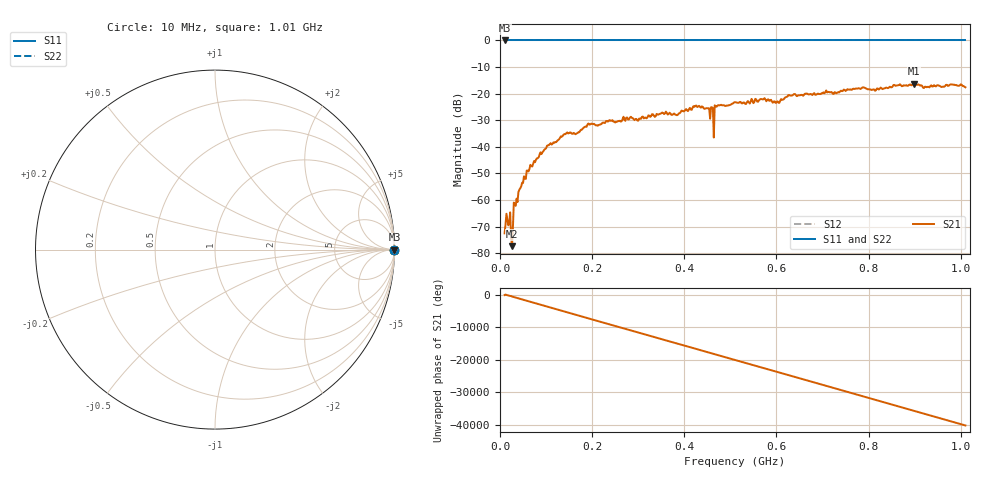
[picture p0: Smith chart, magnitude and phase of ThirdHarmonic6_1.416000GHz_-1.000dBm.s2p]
! 8/16/2025 4:15:47 PM
! C:\ANRITSUVNA\TEMP\TEMP.S2P
! CHANNEL.1
! TR.MEASUREMENT
! RAW.DATA
! RF.CORRECTION.OFF
! AVERAGING.OFF
! IF.BANDWIDTH: 5KHZ
! SWEEPTYPE:  FREQ.SWEEP(Linear)
! Reference Plane Port Info
! PORT:  PORT1  PORT2
! DISTANCE:  0  m  0  m
! TIME:  0  s  0  s
! PHASE.OFFSET:  0  deg.  0  deg.
! LOSS:  0  dB  0  dB
! REF.LOSS:  0  dB  0  dB
! REF.FREQ:  0  Hz  0  Hz
! Power Info
! POWER:  -20  dBm  -20  dBm
! EFF.POWER:  -20  dBm  -20  dBm
! SOURCE.ATTEN:  0  dB  0  dB
! TEST.ATTEN:  0  dB  0  dB
# GHZ S RI R 50.0
! FREQ.GHZ  S11RE  S11IM  S21RE  S21IM  S12RE  S12IM  S22RE  S22IM
!; PortSelection: Port_12
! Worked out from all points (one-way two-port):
!   501 points, 10 MHz to 1.01 GHz, reference 50 ohm
!   highest |S21| = -16.22 dB at 898 MHz (marker M1); lowest = -77.4 dB at 26 MHz (marker M2)
!   lowest |S11| = 0.0 dB at 10 MHz (marker M3)
!   |S11| at or under -10 dB: nowhere
!   |S22| runs from 0.0 to 0.0 dB; largest |S21 - S12| = 1.1
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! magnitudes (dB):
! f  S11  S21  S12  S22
! 10 MHz  0.0  -72.6  0.0  0.0
! 18 MHz  0.0  -69.5  0.0  0.0
! 22 MHz  0.0  -64.7  0.0  0.0
! 26 MHz  0.0  -77.4  0.0  0.0
! 34 MHz  0.0  -62.2  0.0  0.0
! 62 MHz  0.0  -49.3  0.0  0.0
! 106 MHz  0.0  -39.4  0.0  0.0
! 178 MHz  0.0  -33.5  0.0  0.0
! 344 MHz  0.0  -27.9  0.0  0.0
! 384 MHz  0.0  -28.1  0.0  0.0
! 428 MHz  0.0  -25.0  0.0  0.0
! 458 MHz  0.0  -25.1  0.0  0.0
! 460 MHz  0.0  -25.1  0.0  0.0
! 468 MHz  0.0  -24.7  0.0  0.0
! 470 MHz  0.0  -24.9  0.0  0.0
! 510 MHz  0.0  -23.2  0.0  0.0
! 602 MHz  0.0  -22.9  0.0  0.0
! 628 MHz  0.0  -20.6  0.0  0.0
! 678 MHz  0.0  -20.5  0.0  0.0
! 844 MHz  0.0  -17.7  0.0  0.0
! 898 MHz  0.0  -16.2  0.0  0.0
! 1.01 GHz  0.0  -17.6  0.0  0.0
